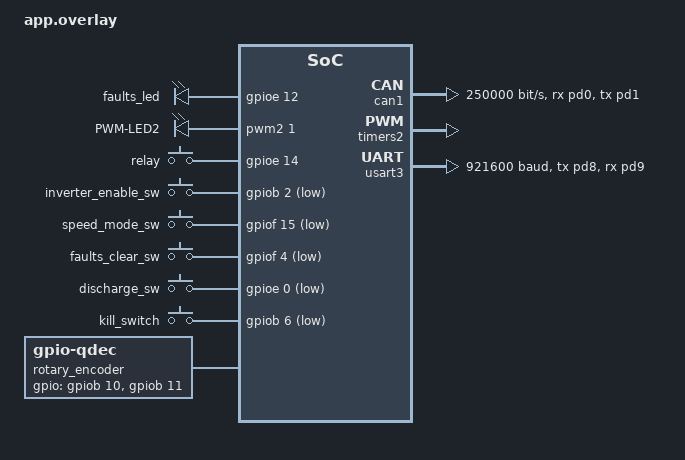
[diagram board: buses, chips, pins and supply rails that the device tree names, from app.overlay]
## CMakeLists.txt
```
cmake_minimum_required(VERSION 3.20.0)

set(BOARD nucleo_f767zi)

set(CONF_FILE prj.conf)
find_package(Zephyr)
project(nova_app)

target_include_directories(app PUBLIC "include/")

target_sources(
  app
  PRIVATE src/main.cpp src/inverter_broadcast_parse.cpp src/can_utility.cpp
          src/inverter_command.cpp src/can_controller.cpp
          src/peripheral_controller.cpp)
```

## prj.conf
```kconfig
#-----------------------------------------------------------------------------------------------------
CONFIG_CONSOLE=y
#CONFIG_STDOUT_CONSOLE=y
CONFIG_SERIAL=y
#CONFIG_UART_CONSOLE=y


CONFIG_I2C=y
CONFIG_PWM=y
CONFIG_CAN=y

CONFIG_CPP=y
CONFIG_NEWLIB_LIBC=y


#-----------------------------------------------------------------------------------------------------

CONFIG_EVENTS=y
CONFIG_CMSIS_DSP=y
CONFIG_CMSIS_DSP_TRANSFORM=y
CONFIG_CMSIS_DSP_FILTERING=y
CONFIG_FPU=y


CONFIG_USB_DEVICE_STACK=n

#-----------------------------------------------------------------------------------------------------

CONFIG_PRINTK=n


#-----------------------------------------------------------------------------------------------------
# Logging
CONFIG_LOG=y

CONFIG_LOG_MODE_DEFERRED=y
CONFIG_LOG_PROCESS_THREAD=y
CONFIG_LOG_PROCESS_THREAD_STACK_SIZE=2048
CONFIG_LOG_BUFFER_SIZE=16384

CONFIG_LOG_BACKEND_UART=y
CONFIG_LOG_BACKEND_UART_OUTPUT_TEXT=y
#-----------------------------------------------------------------------------------------------------
# activate pwm

#-----------------------------------------------------------------------------------------------------
# rotary encoder
CONFIG_INPUT=y
CONFIG_INPUT_GPIO_QDEC=y

#-----------------------------------------------------------------------------------------------------
#
CONFIG_MAIN_STACK_SIZE=2048
```

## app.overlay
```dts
#include <zephyr/dt-bindings/pwm/pwm.h>

&can1 {
  status = "okay";
  pinctrl-0 = <&can1_rx_pd0 &can1_tx_pd1>;
  bus-speed = <250000>; // default baud rate of the inverter
  pinctrl-names = "default";
};

&timers2 {
  st,prescaler = <1000>;
  status = "okay";
  pwm2: pwm {
    status = "okay";
    pinctrl-0 = <&tim2_ch1_pa0>; // D32 -- PA0
    pinctrl-names = "default";
  };
};

/ {
  chosen {
    zephyr,console = &usart3;
  };

  aliases {
    precharge-relay = &precharge_relay;
    
    faults-led = &faults_led;
    
    main-relay = &relay;
    rotary-encoder = &rotary_encoder;

    inv-en-sw = &inverter_enable_sw;
    speed-mode-sw = &speed_mode_sw;
    faults-clear-sw = &faults_clear_sw;
    discharge-sw = &discharge_sw;
    kill-switch = &kill_switch;
  };

  leds {
    compatible = "gpio-leds";

    faults_led: faults_led {
      gpios = <&gpioe 12 GPIO_ACTIVE_HIGH>; // D39 -- PE12
    };
  };

  pwmleds {
    compatible = "pwm-leds";
    status = "okay";

    precharge_relay: precharge_relay {
      pwms = <&pwm2 1 PWM_MSEC(40) PWM_POLARITY_NORMAL>;
      label = "PWM-LED2";
    };
  };

  relay_input {
    compatible = "gpio-keys";
    relay: main_relay {
      gpios = <&gpioe 14 GPIO_ACTIVE_HIGH>; // D38 -- PE14
      zephyr,code = <INPUT_KEY_0>;
    };
  };

  buttons {
    compatible = "gpio-keys";

    inverter_enable_sw: inv_en_sw {
      gpios = <&gpiob 2 (GPIO_PULL_UP | GPIO_ACTIVE_LOW)>; // D27 -- PB2
      zephyr,code = <INPUT_KEY_1>;
    };
    speed_mode_sw: speed_mode_sw {
      gpios = <&gpiof 15 (GPIO_PULL_UP | GPIO_ACTIVE_LOW)>; // D2 -- PF15
      zephyr,code = <INPUT_KEY_2>;
    };
    faults_clear_sw: faults_clear_sw {
      gpios = <&gpiof 4 (GPIO_PULL_UP | GPIO_ACTIVE_LOW)>; // A8 -- PF4
      zephyr,code = <INPUT_KEY_3>;
    };

    discharge_sw: discharge_sw {
      gpios = <&gpioe 0 (GPIO_PULL_UP | GPIO_ACTIVE_LOW)>; // D34 -- PE0
      zephyr,code = <INPUT_KEY_2>;
    };

    kill_switch: kill_switch {
      gpios = <&gpiob 6 (GPIO_PULL_UP | GPIO_ACTIVE_LOW)>; // D26 -- PB6
      zephyr,code = <INPUT_KEY_2>;
    };
  };

  rotary_encoder: qdec {
    compatible = "gpio-qdec";

    status = "okay";
    
    gpios = <&gpiob 10 (GPIO_PULL_UP | GPIO_ACTIVE_HIGH)>, // D36 -- PB10
            <&gpiob 11 (GPIO_PULL_UP | GPIO_ACTIVE_HIGH)>; // D35 -- PB11
    steps-per-period = <4>;
    zephyr,axis = <INPUT_REL_WHEEL>;
    sample-time-us = <2000>;
    idle-timeout-ms = <200>;
  };
};

&usart3 {
	status = "okay";
  current-speed = <921600>;
	pinctrl-0 = <&usart3_tx_pd8 &usart3_rx_pd9>;
	pinctrl-names = "default";
};
```

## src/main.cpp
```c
#include "can_utility.hpp"
#include "peripheral_controller.hpp"
#include "zephyr/kernel.h"

#include <zephyr/drivers/uart.h>
#include <zephyr/usb/usb_device.h>
#include <zephyr/usb/usbd.h>

#include "can_controller.hpp"
#include "zephyr/logging/log.h"

const int32_t STACK_SIZE = 2048;

//-------------------------------------------------------------------------------------------------------------------------

LOG_MODULE_REGISTER(main_logger, LOG_LEVEL_INF);

/*
 * Debug definitions
 */

// #define RELAYS_DEBUG

//-------------------------------------------------------------------------------------------------------------------------

// thread responsible for receiving can messages
K_THREAD_DEFINE(can_msg_receive_thread_id, STACK_SIZE, CAN_Parse_Thread,
                nullptr, nullptr, nullptr, 2, 0, 0);

// thread responsible for pulse signals
K_THREAD_DEFINE(inverter_pulse_command_thread_id, STACK_SIZE, Pulse_Command,
                nullptr, nullptr, nullptr, 1, 0, 0);

// transitions the states
K_THREAD_DEFINE(state_transition_thread_id, STACK_SIZE, State_Transition,
                nullptr, nullptr, nullptr, 2, 0, 0);

int main() {
  int32_t ret1 = CAN_Initialize();  // initialize CAN controller
  int32_t ret2 = initPeripherals(); // initialize the peripherals

  if (ret1 == -1 || ret2 == -1) { // terminate all other threads
    LOG_ERR("Aborted all threads!");
    k_thread_abort(can_msg_receive_thread_id);
    k_thread_abort(inverter_pulse_command_thread_id);
    k_thread_abort(state_transition_thread_id);
  }

  k_thread_suspend(k_current_get());

#ifdef RELAYS_DEBUG
  while (true) {
    enablePrechargeRelay();
    k_sleep(K_MSEC(1500));

    disablePrechargeRelay();

    k_sleep(K_MSEC(1500));

    enableMainRelay();
    k_sleep(K_MSEC(1500));

    disableMainRelay();
    k_sleep(K_MSEC(1500));
  }
#endif

  return 0;
}
```

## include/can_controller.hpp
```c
#ifndef CAN_CONTROLLER_H
#define CAN_CONTROLLER_H

#include "inverter_broadcast_parse.hpp"

#include <cstdint>

// ---------------------------------------------------------

int32_t CAN_Initialize();

// ---------------------------------------------------------

enum class CANMessageTypes : uint32_t {
  INTERNAL_STATES = 0x0AA,
  FAULT_CODES = 0x0AB,
  MOTOR_POSITION_INFORMATION = 0x0A5,
  VOLTAGE_INFORMATION = 0x0A7,
  PARAMETER_MESSAGE = 0x0C2
};

void CAN_Parse_Thread(void *p1, void *p2, void *p3);

// ---------------------------------------------------------

void CAN_Send_Message(uint32_t address, const uint8_t message[]);

// ---------------------------------------------------------

extern POSSIBLE_FAULTS possible_faults_buff[64];
extern size_t faults_buffer_size;

#endif // CAN_CONTROLLER_H
```

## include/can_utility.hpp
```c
#ifndef CAN_UTILITY_H
#define CAN_UTILITY_H

#include "inverter_broadcast_parse.hpp"
#include "zephyr/kernel.h"

// ---------------------------------------------------------

struct StateMessage {
  uint8_t data[8];
  Internal_States new_state;
};

extern k_msgq state_transition_messages;

void State_Transition();

// ---------------------------------------------------------

const int16_t MAX_TORQUE = 120; // it is in Nm(x10)
const int16_t MAX_SPEED = 300;  // it is in rpms

struct PulseMessage {
  int16_t torque;
  int16_t speed;
  bool direction;
  bool inverter_enable;
  bool inverter_discharge;
  bool speed_mode_enable;
  int16_t torque_limit;
};

// ---------------------------------------------------------

extern PulseMessage pulse_message;

void Pulse_Command();

// ---------------------------------------------------------

void Clear_Faults();

// ---------------------------------------------------------

#endif
```

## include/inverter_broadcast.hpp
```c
#ifndef __INV_BROADCAST__
#define __INV_BROADCAST__

#include <stdbool.h>
#include <stddef.h>
#include <stdint.h>

/* Includes ------------------------------------------------------------------*/

/*
 * 0x0A5
 */
struct Motor_Position_Information {
  /*
   * The electrical angle of the motor as read
   * by the encoder or resolver.
   *
   * Format: Angle.
   */
  int16_t motor_angle;

  /*
   * The measured speed of the motor.
   *
   * Format: Angular Velocity.
   */
  int16_t motor_speed;

  /*
   * The actual electrical frequency of the ivnerter.
   *
   * Format: Frequency
   */
  int16_t electrical_output_freq;

  /*
   * This is used in calibration of resolver angle adjustment.
   * The range of this parameter is +-180 degrees. Values between
   * 180degrees and 360degrees are shown as negative angle.
   * For example 270 degrees is equal to -90 degrees, and
   * 190 degrees is equal to -170 degrees.
   */
  int16_t delta_resolver_filtered;
};

/*
 * 0x0A7
 */
struct Voltage_Information {
  /*
   * The actual measured value of the DC bus voltage.
   *
   * Format: High Voltage
   */
  int16_t dc_bus_voltage;

  /*
   * The calculated value of the output voltage, in peak line-neutral volts.
   *
   * Format: High Voltage
   */
  int16_t output_voltage;

  /*
   * Measured value of the voltage between Phase A and Phase B(VAB) when the
   * inverter is disabled. Vd voltage when the inverter is enabled.
   *
   * Format: High Voltage
   */
  int16_t vab_vd_voltage;

  /*
   * Measured value of the voltage between Phase B and Phase C(VBC) when the
   * inverter is disabled. Vq voltage when the inverted is enabled.
   *
   * Format: High Voltage
   */
  int16_t vbc_vq_voltage;
};

enum class VSM_STATE : uint8_t {
  VSM_START_STATE = 0,
  VSM_PRE_CHARGE_INIT_STATE = 1,
  VSM_PRE_CHARGE_ACTIVE_STATE = 2,
  VSM_PRE_CHARGE_COMPLETE_STATE = 3,
  VSM_WAIT_STATE = 4,
  VSM_READY_STATE = 5,
  VSM_MOTOR_RUNNING_STATE = 6,
  VSM_BLINK_FAULT_CODE_STATE = 7,
  VSM_SHUTDOWN_IN_PROCESS = 14,
  VSM_RECYCLE_POWER_STATE = 15,
  VSM_UNKNOWN_STATE,
};

enum class INV_STATE : uint8_t {
  INV_POWER_ON_STATE,
  INV_STOP_STATE,
  INV_OPEN_LOOP_STATE,
  INV_CLOSED_LOOP_STATE,
  INV_WAIT_STATE,
  INV_INTERNAL_STATES,
  INV_IDLE_RUN_STATE,
  INV_IDLE_STOP_STATE,
  INV_UNKNOWN_STATE,
};

enum class INV_ACTIVE_DISCHARGE_STATE : uint8_t {
  DISCHARGE_DISABLED,
  DISCHARGE_ENABLED,
  PERFORMING_SPEED_CHECK,
  DISCHARGE_ACTIVELY_OCCURING,
  DISCHARGE_COMPLETED,
};

enum class INVERTER_RUN_MODE : uint8_t { TORQUE_MODE, SPEED_MODE };

/*
 * 0x0AA
 */
struct Internal_States {
  VSM_STATE vsm_state;

  /*
   * FOR GEN5/CM THE PWM FREQUENCY THAT IS CURRENTLY BEING USED IS REPORTED.
   * For PMxxx inverters this value show as 0.
   *
   * Format
   */
  uint8_t pwm_frequency;

  INV_STATE inverter_state;

  uint8_t relay_state;

  /*
   * 0 = Torque Mode
   * 1 = Speed Mode
   */
  bool run_mode;

  bool self_sensing_assist_enable;

  INV_ACTIVE_DISCHARGE_STATE discharge_state;

  /*
   * 0 = CAN
   * 1 = VSM
   */
  bool command_mode;

  /*
   * ONLY AVAILABLE IN GEN5/CM
   * The value of the currently expected Rolling Counter value.
   */
  uint8_t rolling_counter_value;

  /*
   * 0 - Disabled
   * 1 - Enabled
   */
  bool inverter_enable_state;

  /*
   * For GEN5 / CM
   * 0 = Stall
   * 1 = High Speed
   */
  bool burst_model_mode;

  /*
   * 0 = start signal has not been activated.
   * 1 = start signal has been activated.
   */
  bool start_mode_active;

  /*
   * 0 = inverter can be enabled.
   * 1 = inverter cannot be enabled.
   */
  bool inverter_enable_lockout;

  /*
   * 1 = Forward
   * 0 = Reverse
   */
  bool direction_command;

  /*
   * 0 = BMS message is not being received.
   * 1 = BMS message is being received.
   */
  bool bms_active;

  /*
   * 0 = Torque is not being limited by the BMS.
   * 1 = Torque is being limited by the BMS.
   */
  bool bms_limiting_torque;

  /*
   * ONLY AVAILABLE IN GEN5
   * 0 = No torque limiting is occurring.
   * 1 = Torque limiting is occuring due to the motor speed exceeding the
   * maximum motor speed.
   */
  bool limit_max_speed;

  /*
   * ONLY AVAILABLE IN GEN5
   */
  bool limit_hot_spot;

  /*
   * ONLY AVAILABLE IN GEN5
   * 0 = Low speed current limiting is not occuring.
   * 1 = Low speed current limiting is occuring.
   */
  bool low_speed_limiting;

  /*
   * ONLY AVAILABLE IN GEN5
   * The bit indicates that the maximum motor current is being limited due to
   * coolant temperature.
   */
  bool coolant_temperature_limiting;

  /*
   * ONLY AVAILABLE IN GEN5
   * 0 = Not limiting.
   * 1 = Limiting.
   * Indicates if Stall Burst Model is limiting the current. For select
   * inverters only.
   */
  bool limit_stall_burst_model;
};

enum class POSSIBLE_FAULTS : uint64_t {
  // POST FAULTS
  ERR_POST_HARDWARE_GATE_DESATURATION = 1ULL << 0,
  ERR_HW_OVER_CURRENT = 1ULL << 1,
  ERR_ACCELERATION_SHORTED = 1ULL << 2,
  ERR_ACCELERATION_OPEN = 1ULL << 3,
  ERR_CURRENT_SENSOR_LOW = 1ULL << 4,
  ERR_CURRENT_SENSOR_HIGH = 1ULL << 5,
  ERR_MODULE_TEMPERATURE_LOW = 1ULL << 6,
  ERR_MODULE_TEMPERATURE_HIGH = 1ULL << 7,
  ERR_CONTROL_PCB_TEMPERATURE_LOW = 1ULL << 8,
  ERR_CONTROL_PCB_TEMPERATURE_HIGH = 1ULL << 9,
  ERR_GATE_DRIVE_PCB_TEMPERATURE_LOW = 1ULL << 10,
  ERR_GATE_DRIVE_PCB_TEMPERATURE_HIGH = 1ULL << 11,
  ERR_5V_SENSE_VOLTAGE_LOW = 1ULL << 12,
  ERR_5V_SENSE_VOLTAGE_HIGH = 1ULL << 13,
  ERR_12V_SENSE_VOLTAGE_LOW = 1ULL << 14,
  ERR_12V_SENSE_VOLTAGE_HIGH = 1ULL << 15,
  ERR_2V5_SENSE_VOLTAGE_LOW = 1ULL << 16,
  ERR_2V5_SENSE_VOLTAGE_HIGH = 1ULL << 17,
  ERR_1V5_SENSE_VOLTAGE_LOW = 1ULL << 18,
  ERR_1V5_SENSE_VOLTAGE_HIGH = 1ULL << 19,
  ERR_DC_BUS_VOLTAGE_HIGH = 1ULL << 20,
  ERR_DC_BUS_VOLTAGE_LOW = 1ULL << 21,
  ERR_PRE_CHARGE_TIMEOUT = 1ULL << 22,
  ERR_PRE_CHARGE_VOLTAGE_FAILURE = 1ULL << 23,
  ERR_EEPROM_CHECKSUM_FAULED = 1ULL << 24,
  ERR_EEPROM_DATA_OUT_OF_RANGE = 1ULL << 25,
  ERR_EEPROM_UPDATE_REQUIRED = 1ULL << 26,
  ERR_HARDWARE_DC_BUS_OVER_VOLTAGE_DURING_INITIALIZATION = 1ULL << 27,
  ERR_BRAKE_SHORTED = 1ULL << 30,
  ERR_BRAKE_OPEN = 1ULL << 31,

  // RUN FAULTS
  ERR_MOTOR_OVER_SPEED = 1ULL << 32,
  ERR_OVER_CURRENT = 1ULL << 33,
  ERR_OVER_VOLTAGE = 1ULL << 34,
  ERR_INVERTER_OVER_TEMPERATURE = 1ULL << 35,
  ERR_ACCELERATOR_INPUT_SHORTED_FAULT = 1ULL << 36,
  ERR_ACCELERATOR_INPUT_OPEN_FAULT = 1ULL << 37,
  ERR_DIRECTION_COMMAND_FAULT = 1ULL << 38,
  ERR_INVERTER_RESPONSE_TIME_OUT = 1ULL << 39,
  ERR_RUN_HARDWARE_GATE_DESATURATION = 1ULL << 40,
  ERR_HARDWARE_OVER_CURRENT = 1ULL << 41,
  ERR_UNDER_VOLTAGE = 1ULL << 42,
  ERR_CAN_COMMAND_MESSAGE_LOST = 1ULL << 43,
  ERR_MOTOR_OVER_TEMPERATURE = 1ULL << 44,
  ERR_BRAKE_INPUT_SHORTED = 1ULL << 48,
  ERR_BRAKE_INPUT_OPEN = 1ULL << 49,
  ERR_MODULE_A_OVER_TEMPERATURE = 1ULL << 50,
  ERR_MODULE_B_OVER_TEMPERATURE = 1ULL << 51,
  ERR_MODULE_C_OVER_TEMPERATURE = 1ULL << 52,
  ERR_PCB_OVER_TEMPERATURE = 1ULL << 53,
  ERR_GATE_DRIVE_BOARD_1_OVER_TEMPERATURE = 1ULL << 54,
  ERR_GATE_DRIVE_BOARD_2_OVER_TEMPERATURE = 1ULL << 55,
  ERR_GATE_DRIVE_BOARD_3_OVER_TEMPERATURE = 1ULL << 56,
  ERR_CURRENT_SENSOR = 1ULL << 57,
  ERR_RESOLVER_NOT_CONNECTED = 1ULL << 62,
};

/*
 * 0x0AB
 *
 * Bits correspond to POST_FAULTS and RUN_FAULTS
 */
struct Fault_Codes {
  uint64_t mask;
};

/*
 * 0x0AC
 */
struct Torque_And_Timer_Info {
  /*
   * The commanded torque.
   *
   * Format: Torque
   */
  int8_t commanded_torque;

  /*
   * The estimated motor torque based on
   * motor parameters and feedbacks.
   *
   * Format: Torque
   */
  int8_t torque_feedback;

  /*
   * This timer is updated every 3 msec. This
   * timer will roll-over in approximately 5
   * months. The timer will reset to 0 at power
   * on. Monitoring this can be useful to show
   * when a reset of the processor has occurred.
   *
   * Format: (Counts x .003) sec
   */
  int8_t power_on_timer;
};

/*
 * 0x0B0
 */
struct High_Speed_Message {
  /*
   * The commanded torque.
   *
   * Format: Torque
   */
  int8_t commanded_torque;

  /*
   * The estimated motor torque.
   *
   * Format: Torque
   */
  int8_t torque_feedback;

  /*
   * The measured motor speed.
   *
   * Format: Angular Velocity
   */
  int8_t motor_speed;

  /*
   * The actual measured DC bus voltage;
   *
   * Format: High Voltage
   */
  int8_t dc_bus_voltage;
};

/*
 * 0x0B1
 */
struct Torque_Capability {
  /*
   * The inverter's available torque.
   *
   * Format: Torque
   */
  int8_t torque_capability;
};

Internal_States Parse_Internal_States(uint8_t *);

void Parse_Fault_Codes(uint8_t *);

size_t Check_Fault_Codes();

void Parse_Motor_Position_Information(uint8_t *);

void Parse_Voltage_Information(uint8_t *);

extern Motor_Position_Information motor_position_information;
extern Voltage_Information voltage_information;
extern Internal_States internal_states;
extern Fault_Codes fault_codes;

#endif /* __INV_BROADCAST__ */
```

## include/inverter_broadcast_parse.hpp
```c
#ifndef INVERTER_BROADCAST_PARSE_H
#define INVERTER_BROADCAST_PARSE_H

#include <stdbool.h>
#include <stddef.h>
#include <stdint.h>

/* Includes ------------------------------------------------------------------*/

/*
 * 0x0A5
 */
struct Motor_Position_Information {
  /*
   * The electrical angle of the motor as read
   * by the encoder or resolver.
   *
   * Format: Angle.
   */
  int16_t motor_angle;

  /*
   * The measured speed of the motor.
   *
   * Format: Angular Velocity.
   */
  int16_t motor_speed;

  /*
   * The actual electrical frequency of the ivnerter.
   *
   * Format: Frequency
   */
  int16_t electrical_output_freq;

  /*
   * This is used in calibration of resolver angle adjustment.
   * The range of this parameter is +-180 degrees. Values between
   * 180degrees and 360degrees are shown as negative angle.
   * For example 270 degrees is equal to -90 degrees, and
   * 190 degrees is equal to -170 degrees.
   */
  int16_t delta_resolver_filtered;
};

/*
 * 0x0A7
 */
struct Voltage_Information {
  /*
   * The actual measured value of the DC bus voltage.
   *
   * Format: High Voltage
   */
  int16_t dc_bus_voltage;

  /*
   * The calculated value of the output voltage, in peak line-neutral volts.
   *
   * Format: High Voltage
   */
  int16_t output_voltage;

  /*
   * Measured value of the voltage between Phase A and Phase B(VAB) when the
   * inverter is disabled. Vd voltage when the inverter is enabled.
   *
   * Format: High Voltage
   */
  int16_t vab_vd_voltage;

  /*
   * Measured value of the voltage between Phase B and Phase C(VBC) when the
   * inverter is disabled. Vq voltage when the inverted is enabled.
   *
   * Format: High Voltage
   */
  int16_t vbc_vq_voltage;
};

#define VSM_STATE_LIST(x)                                                      \
  X(VSM_START_STATE, 0)                                                        \
  X(VSM_PRE_CHARGE_INIT_STATE, 1)                                              \
  X(VSM_PRE_CHARGE_ACTIVE_STATE, 2)                                            \
  X(VSM_PRE_CHARGE_COMPLETE_STATE, 3)                                          \
  X(VSM_WAIT_STATE, 4)                                                         \
  X(VSM_READY_STATE, 5)                                                        \
  X(VSM_MOTOR_RUNNING_STATE, 6)                                                \
  X(VSM_BLINK_FAULT_CODE_STATE, 7)                                             \
  X(VSM_SHUTDOWN_IN_PROCESS, 14)                                               \
  X(VSM_RECYCLE_POWER_STATE, 15)                                               \
  X(VSM_UNKNOWN_STATE, 16)

enum class VSM_STATE : uint8_t {
#define X(name, value) name = value,
  VSM_STATE_LIST(X)
#undef X
};

struct VSM_STATE_INFO {
  uint8_t val;
  const char *str;
};

constexpr VSM_STATE_INFO vsm_state_info_table[] = {
#define X(name, value) {value, #name},
    VSM_STATE_LIST(X)
#undef X
};

enum class INV_STATE : uint8_t {
  INV_POWER_ON_STATE,
  INV_STOP_STATE,
  INV_OPEN_LOOP_STATE,
  INV_CLOSED_LOOP_STATE,
  INV_WAIT_STATE,
  INV_INTERNAL_STATES,
  INV_IDLE_RUN_STATE,
  INV_IDLE_STOP_STATE,
  INV_UNKNOWN_STATE,
};

enum class INV_ACTIVE_DISCHARGE_STATE : uint8_t {
  DISCHARGE_DISABLED,
  DISCHARGE_ENABLED,
  PERFORMING_SPEED_CHECK,
  DISCHARGE_ACTIVELY_OCCURING,
  DISCHARGE_COMPLETED,
};

enum class INVERTER_RUN_MODE : uint8_t { TORQUE_MODE, SPEED_MODE };

/*
 * 0x0AA
 */
struct Internal_States {
  VSM_STATE vsm_state;

  /*
   * FOR GEN5/CM THE PWM FREQUENCY THAT IS CURRENTLY BEING USED IS REPORTED.
   * For PMxxx inverters this value show as 0.
   *
   * Format
   */
  uint8_t pwm_frequency;

  INV_STATE inverter_state;

  uint8_t relay_state;

  /*
   * 0 = Torque Mode
   * 1 = Speed Mode
   */
  bool run_mode;

  bool self_sensing_assist_enable;

  INV_ACTIVE_DISCHARGE_STATE discharge_state;

  /*
   * 0 = CAN
   * 1 = VSM
   */
  bool command_mode;

  /*
   * ONLY AVAILABLE IN GEN5/CM
   * The value of the currently expected Rolling Counter value.
   */
  uint8_t rolling_counter_value;

  /*
   * 0 - Disabled
   * 1 - Enabled
   */
  bool inverter_enable_state;

  /*
   * For GEN5 / CM
   * 0 = Stall
   * 1 = High Speed
   */
  bool burst_model_mode;

  /*
   * 0 = start signal has not been activated.
   * 1 = start signal has been activated.
   */
  bool start_mode_active;

  /*
   * 0 = inverter can be enabled.
   * 1 = inverter cannot be enabled.
   */
  bool inverter_enable_lockout;

  /*
   * 1 = Forward
   * 0 = Reverse
   */
  bool direction_command;

  /*
   * 0 = BMS message is not being received.
   * 1 = BMS message is being received.
   */
  bool bms_active;

  /*
   * 0 = Torque is not being limited by the BMS.
   * 1 = Torque is being limited by the BMS.
   */
  bool bms_limiting_torque;

  /*
   * ONLY AVAILABLE IN GEN5
   * 0 = No torque limiting is occurring.
   * 1 = Torque limiting is occuring due to the motor speed exceeding the
   * maximum motor speed.
   */
  bool limit_max_speed;

  /*
   * ONLY AVAILABLE IN GEN5
   */
  bool limit_hot_spot;

  /*
   * ONLY AVAILABLE IN GEN5
   * 0 = Low speed current limiting is not occuring.
   * 1 = Low speed current limiting is occuring.
   */
  bool low_speed_limiting;

  /*
   * ONLY AVAILABLE IN GEN5
   * The bit indicates that the maximum motor current is being limited due to
   * coolant temperature.
   */
  bool coolant_temperature_limiting;

  /*
   * ONLY AVAILABLE IN GEN5
   * 0 = Not limiting.
   * 1 = Limiting.
   * Indicates if Stall Burst Model is limiting the current. For select
   * inverters only.
   */
  bool limit_stall_burst_model;
};

// possible_faults.def
#define POSSIBLE_FAULTS_LIST(X)                                                \
  /* POST FAULTS */                                                            \
  X(ERR_POST_HARDWARE_GATE_DESATURATION, 0)                                    \
  X(ERR_HW_OVER_CURRENT, 1)                                                    \
  X(ERR_ACCELERATION_SHORTED, 2)                                               \
  X(ERR_ACCELERATION_OPEN, 3)                                                  \
  X(ERR_CURRENT_SENSOR_LOW, 4)                                                 \
  X(ERR_CURRENT_SENSOR_HIGH, 5)                                                \
  X(ERR_MODULE_TEMPERATURE_LOW, 6)                                             \
  X(ERR_MODULE_TEMPERATURE_HIGH, 7)                                            \
  X(ERR_CONTROL_PCB_TEMPERATURE_LOW, 8)                                        \
  X(ERR_CONTROL_PCB_TEMPERATURE_HIGH, 9)                                       \
  X(ERR_GATE_DRIVE_PCB_TEMPERATURE_LOW, 10)                                    \
  X(ERR_GATE_DRIVE_PCB_TEMPERATURE_HIGH, 11)                                   \
  X(ERR_5V_SENSE_VOLTAGE_LOW, 12)                                              \
  X(ERR_5V_SENSE_VOLTAGE_HIGH, 13)                                             \
  X(ERR_12V_SENSE_VOLTAGE_LOW, 14)                                             \
  X(ERR_12V_SENSE_VOLTAGE_HIGH, 15)                                            \
  X(ERR_2V5_SENSE_VOLTAGE_LOW, 16)                                             \
  X(ERR_2V5_SENSE_VOLTAGE_HIGH, 17)                                            \
  X(ERR_1V5_SENSE_VOLTAGE_LOW, 18)                                             \
  X(ERR_1V5_SENSE_VOLTAGE_HIGH, 19)                                            \
  X(ERR_DC_BUS_VOLTAGE_HIGH, 20)                                               \
  X(ERR_DC_BUS_VOLTAGE_LOW, 21)                                                \
  X(ERR_PRE_CHARGE_TIMEOUT, 22)                                                \
  X(ERR_PRE_CHARGE_VOLTAGE_FAILURE, 23)                                        \
  X(ERR_EEPROM_CHECKSUM_FAULED, 24)                                            \
  X(ERR_EEPROM_DATA_OUT_OF_RANGE, 25)                                          \
  X(ERR_EEPROM_UPDATE_REQUIRED, 26)                                            \
  X(ERR_HARDWARE_DC_BUS_OVER_VOLTAGE_DURING_INITIALIZATION, 27)                \
  X(ERR_BRAKE_SHORTED, 30)                                                     \
  X(ERR_BRAKE_OPEN, 31)                                                        \
                                                                               \
  /* RUN FAULTS */                                                             \
  X(ERR_MOTOR_OVER_SPEED, 32)                                                  \
  X(ERR_OVER_CURRENT, 33)                                                      \
  X(ERR_OVER_VOLTAGE, 34)                                                      \
  X(ERR_INVERTER_OVER_TEMPERATURE, 35)                                         \
  X(ERR_ACCELERATOR_INPUT_SHORTED_FAULT, 36)                                   \
  X(ERR_ACCELERATOR_INPUT_OPEN_FAULT, 37)                                      \
  X(ERR_DIRECTION_COMMAND_FAULT, 38)                                           \
  X(ERR_INVERTER_RESPONSE_TIME_OUT, 39)                                        \
  X(ERR_RUN_HARDWARE_GATE_DESATURATION, 40)                                    \
  X(ERR_HARDWARE_OVER_CURRENT, 41)                                             \
  X(ERR_UNDER_VOLTAGE, 42)                                                     \
  X(ERR_CAN_COMMAND_MESSAGE_LOST, 43)                                          \
  X(ERR_MOTOR_OVER_TEMPERATURE, 44)                                            \
  X(ERR_BRAKE_INPUT_SHORTED, 48)                                               \
  X(ERR_BRAKE_INPUT_OPEN, 49)                                                  \
  X(ERR_MODULE_A_OVER_TEMPERATURE, 50)                                         \
  X(ERR_MODULE_B_OVER_TEMPERATURE, 51)                                         \
  X(ERR_MODULE_C_OVER_TEMPERATURE, 52)                                         \
  X(ERR_PCB_OVER_TEMPERATURE, 53)                                              \
  X(ERR_GATE_DRIVE_BOARD_1_OVER_TEMPERATURE, 54)                               \
  X(ERR_GATE_DRIVE_BOARD_2_OVER_TEMPERATURE, 55)                               \
  X(ERR_GATE_DRIVE_BOARD_3_OVER_TEMPERATURE, 56)                               \
  X(ERR_CURRENT_SENSOR, 57)                                                    \
  X(ERR_RESOLVER_NOT_CONNECTED, 62)

enum class POSSIBLE_FAULTS : uint64_t {
#define X(name, bit) name = (1ULL << bit),
  POSSIBLE_FAULTS_LIST(X)
#undef X
};

struct FaultInfo {
  uint64_t mask;
  const char *name;
};

constexpr FaultInfo possible_faults_table[] = {
#define X(name, bit) {(1ULL << bit), #name},
    POSSIBLE_FAULTS_LIST(X)
#undef X
};

/*
 * 0x0AB
 *
 * Bits correspond to POST_FAULTS and RUN_FAULTS
 */
struct Fault_Codes {
  uint64_t mask;
};

/*
 * 0x0AC
 */
struct Torque_And_Timer_Info {
  /*
   * The commanded torque.
   *
   * Format: Torque
   */
  int8_t commanded_torque;

  /*
   * The estimated motor torque based on
   * motor parameters and feedbacks.
   *
   * Format: Torque
   */
  int8_t torque_feedback;

  /*
   * This timer is updated every 3 msec. This
   * timer will roll-over in approximately 5
   * months. The timer will reset to 0 at power
   * on. Monitoring this can be useful to show
   * when a reset of the processor has occurred.
   *
   * Format: (Counts x .003) sec
   */
  int8_t power_on_timer;
};

/*
 * 0x0B0
 */
struct High_Speed_Message {
  /*
   * The commanded torque.
   *
   * Format: Torque
   */
  int8_t commanded_torque;

  /*
   * The estimated motor torque.
   *
   * Format: Torque
   */
  int8_t torque_feedback;

  /*
   * The measured motor speed.
   *
   * Format: Angular Velocity
   */
  int8_t motor_speed;

  /*
   * The actual measured DC bus voltage;
   *
   * Format: High Voltage
   */
  int8_t dc_bus_voltage;
};

/*
 * 0x0B1
 */
struct Torque_Capability {
  /*
   * The inverter's available torque.
   *
   * Format: Torque
   */
  int8_t torque_capability;
};

Internal_States Parse_Internal_States(uint8_t *);

Fault_Codes Parse_Fault_Codes(uint8_t *);

size_t Check_Fault_Codes(Fault_Codes fault_codes);

Motor_Position_Information Parse_Motor_Position_Information(uint8_t *);

Voltage_Information Parse_Voltage_Information(uint8_t *);

#endif /* INVERTER_BROADCAST_PARSE_H */
```

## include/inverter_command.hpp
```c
#ifndef INVERTER_COMMAND_H
#define INVERTER_COMMAND_H

#include <stdbool.h>
#include <stdint.h>

// ---------------------------------------------------------

/*
 * Send a command message
 *
 * page 32 of CAN Protocol document
 */
void Send_Command(int16_t torque_command, int16_t speed_command,
                  bool direction_command, bool inverter_enable,
                  bool inverter_discharge, bool speed_mode_enable,
                  int16_t commanded_torque_limit);

// ---------------------------------------------------------

/*
 * Send a parameter message
 *
 * page 38 of CAN Protocol document
 */
void Send_Parameter(uint16_t parameter_address, bool rw, int16_t data);

// ---------------------------------------------------------

void Parse_Parameter_Message(uint8_t *arr, uint16_t *parameter_address,
                             bool *success, int16_t *data);

// ---------------------------------------------------------

#endif // INVERTER_COMMAND_H
```

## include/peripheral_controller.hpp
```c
#ifndef PERIPHERAL_CONTROLLER_H
#define PERIPHERAL_CONTROLLER_H

#include "zephyr/dt-bindings/pwm/pwm.h"
#include <cstdint>

// ---------------------------------------------------------

// initialize
int32_t initPeripherals();

// ---------------------------------------------------------

// pre-charge relays
const int64_t PWM_PERIOD = PWM_USEC(1000);
const int64_t PWM_DUTY_PERIOD = PWM_USEC(1000);
const int16_t TORQUE_SCALER = 10;

void enablePrechargeRelay();
void disablePrechargeRelay();

// ---------------------------------------------------------

// main relays
void enableMainRelay();
void disableMainRelay();

// ---------------------------------------------------------

// fault led
void enableFaultsLed();
void disableFaultsLed();

// ---------------------------------------------------------

#endif // !PERIPHERAL_CONTROLLER_H
```

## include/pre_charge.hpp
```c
#ifndef __PRE_CHARGE_H__
#define __PRE_CHARGE_H__

#include "inverter_broadcast.hpp"

extern VSM_STATE ecu_vsm_state;

void Walk_Through_Precharge(void);

#endif
```

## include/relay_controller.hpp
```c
#ifndef RELAY_CONTROLLER_H
#define RELAY_CONTROLLER_H

// initialize
void initRelays();

// pre-charge relays
void enablePrechargeRelay();
void disablePrechargeRelay();

// main relays
void enableMainRelay();
void disableMainRelay();

#endif // !RELAY_CONTROLLER_H
```

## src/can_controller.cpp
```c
#include "can_controller.hpp"
#include "can_utility.hpp"
#include "inverter_broadcast_parse.hpp"
#include "inverter_command.hpp"
#include "peripheral_controller.hpp"
#include "zephyr/device.h"
#include "zephyr/devicetree.h"
#include "zephyr/drivers/can.h"
#include "zephyr/kernel.h"
#include "zephyr/logging/log.h"

//----------------------------------------------------------------------
// DEBUG Defines

LOG_MODULE_REGISTER(can_message_parse, LOG_LEVEL_INF);

#define ERROR_DBG
#define STATUS_DBG
#define PARAMETER_RECEIVED_DBG
#define VOLTAGE_DBG

//----------------------------------------------------------------------

const device *can_dev = DEVICE_DT_GET(DT_NODELABEL(can1));

POSSIBLE_FAULTS possible_faults_buff[64];
size_t faults_buffer_size = 0;

struct can_rx_item {
  uint32_t msg_id;
  uint8_t data[8];
};

K_MSGQ_DEFINE(can_rx_q, sizeof(can_rx_item), 256, 4);

void CAN_Parse_Thread(void *p1, void *p2, void *p3) {
  can_rx_item item;
  while (true) {

    k_msgq_get(&can_rx_q, &item, K_FOREVER);

    switch (static_cast<CANMessageTypes>(item.msg_id)) {
    case CANMessageTypes::INTERNAL_STATES: {
      Internal_States parsed_internal_state = Parse_Internal_States(item.data);
      if (k_msgq_put(&state_transition_messages, &parsed_internal_state,
                     K_MSEC(30)) < 0) {
        LOG_ERR("Could not send a state transition message in time!");
      }

#ifdef STATUS_DBG

      for (const auto &x : vsm_state_info_table) {
        if (x.val == uint8_t(parsed_internal_state.vsm_state)) {
          LOG_INF("VSM State:%s -- Inverter Enable State:%d -- Relay States:%u",
                  x.str, parsed_internal_state.inverter_enable_state,
                  int32_t(parsed_internal_state.relay_state));
        }
      }

#endif

      break;
    }
    case CANMessageTypes::FAULT_CODES: {
      Fault_Codes fault_codes = Parse_Fault_Codes(item.data);

      size_t err_size = Check_Fault_Codes(fault_codes);

      if (err_size) {
        // enableFaultsLed();
#ifdef ERROR_DBG
        for (size_t i = 0; i < err_size; i++) {
          for (const auto &x : possible_faults_table) {
            if (x.mask == uint64_t(possible_faults_buff[i])) {
              LOG_INF("Error of type: %s - occured", x.name);
            }
          }
        }
#endif
      } else {
        disableFaultsLed();
      }

      break;
    }
    case CANMessageTypes::MOTOR_POSITION_INFORMATION: {
      Motor_Position_Information motor_position_information =
          Parse_Motor_Position_Information(item.data);
      break;
    }
    case CANMessageTypes::VOLTAGE_INFORMATION: {

      Voltage_Information voltage_information =
          Parse_Voltage_Information(item.data);

#ifdef VOLTAGE_DBG
      LOG_INF("Voltage Information: DC BUS Voltage: %d, Output Voltage: %d",
              voltage_information.dc_bus_voltage,
              voltage_information.output_voltage);
#endif

      break;
    }
    case CANMessageTypes::PARAMETER_MESSAGE: {
      uint16_t parameter_address = 0;
      int16_t data = 0;
      bool success = false;
      Parse_Parameter_Message(item.data, &parameter_address, &success, &data);
#ifdef PARAMETER_RECEIVED_DBG
      LOG_INF("Response from parameter message: %u %d %d", parameter_address,
              success, data);
#endif

      break;
    }
    default:
      break;
    }
  }
}

/*
 * Receive CAN messages from the inverter and enqueue them in the parser's
 * queue.
 */
void rx_callback_function(const struct device *dev, struct can_frame *frame,
                          void *user_data) {
  can_rx_item item = can_rx_item{
      .msg_id = frame->id,
      .data = {frame->data[0], frame->data[1], frame->data[2], frame->data[3],
               frame->data[4], frame->data[5], frame->data[6], frame->data[7]}};

  if (k_msgq_put(&can_rx_q, &item, K_NO_WAIT) < 0) {
    LOG_ERR("Could not send received CAN message to the parse queue!");
  }
}

int32_t CAN_Initialize() {

  if (!device_is_ready(can_dev)) {
    printk("CAN device is not ready!\n");
    LOG_ERR("CAN device is not ready!");
    return -1;
  }

  if (can_set_mode(can_dev, CAN_MODE_NORMAL) != 0) {
    LOG_ERR("Error setting CAN mode!");
    return -1;
  }

  if (can_start(can_dev) != 0) {
    LOG_ERR("Couldn't start CAN device");
    return -1;
  }

  const can_filter my_filter = {.id = 0, .mask = 0, .flags = CAN_FILTER_IDE};

  if (can_add_rx_filter(can_dev, rx_callback_function, nullptr, &my_filter) <
      0) {
    LOG_ERR("Could not add a callback function");
  }

  return 0;
}

void CAN_Send_Message(uint32_t address, const uint8_t message[]) {
  struct can_frame frame = {
      .id = address,
      .dlc = 8,
      .flags = CAN_FRAME_IDE,
      .data = {message[0], message[1], message[2], message[3], message[4],
               message[5], message[6], message[7]},
  };
  int32_t ret = can_send(can_dev, &frame, K_MSEC(20), NULL, NULL);
  if (ret < 0) {
    LOG_ERR("Could not send CAN message!");
  }
}
```

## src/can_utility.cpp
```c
#include "can_utility.hpp"
#include "inverter_broadcast_parse.hpp"
#include "inverter_command.hpp"
#include "zephyr/kernel.h"
#include "zephyr/logging/log.h"

// Logging
LOG_MODULE_REGISTER(can_utility, LOG_LEVEL_INF);

// Message queue for the state transitions
K_MSGQ_DEFINE(state_transition_messages, sizeof(StateMessage), 64, 4);

void State_Transition() {

  Internal_States next_state;
  while (true) {
    // get the state of the VSM
    k_msgq_get(&state_transition_messages, &next_state, K_FOREVER);

    /*
     * SW USER MANUAL, Page 28
     *
     * NOTE: It is possible to send a command to the inverter to enable the
     * relay contactors using CAN messages. That way we can get 12V power
     * driver, instead of relying on MOSFET drivers
     */
    switch (next_state.vsm_state) {
    case VSM_STATE::VSM_START_STATE:

      break;
    case VSM_STATE::VSM_PRE_CHARGE_INIT_STATE:
      /*
       * Performs VDC checks and if the voltage is under the threshold,
       * transition to VSM_PRE_CHARGE_ACTIVE_STATE
       */

      break;
    case VSM_STATE::VSM_PRE_CHARGE_ACTIVE_STATE:

      break;
    case VSM_STATE::VSM_PRE_CHARGE_COMPLETE_STATE:
      /*
       * also preforms stability check on the voltage. Once
       * checks are completed transition to VSM_WAIT_STATE
       */

      break;
    case VSM_STATE::VSM_WAIT_STATE:
      /*
       * NOTE: Inv_Cmd_Mode_EEPROM should be set to 0 for CAN mode
       * communication. This ensures that the inverter is not relying on BRAKE,
       * FORWARD and REVERSE SWITCHES.
       *
       * NOTE: Furthermore, Key_Switch_Mode is ineffective in CAN mode, so this
       * whole state should quickly transition to VSM_READY_STATE
       */

      break;
    case VSM_STATE::VSM_READY_STATE:
      /*
       * The system is waiting for Enable Inverter Command,
       */

      break;
    case VSM_STATE::VSM_MOTOR_RUNNING_STATE:

      break;
    case VSM_STATE::VSM_BLINK_FAULT_CODE_STATE:

      break;
    case VSM_STATE::VSM_SHUTDOWN_IN_PROCESS:

      break;
    case VSM_STATE::VSM_RECYCLE_POWER_STATE:
      /*
       * This state indicates that the EEPROM Programming
       * has been successfully completed. For new EEPROM
       * values to take effect, the controller must be re-powered.
       */

      break;
    default:
      break;
    }
  }
}

K_SEM_DEFINE(pulse_sem, 0, 1);

void pulse_timer_expiratory_func(k_timer *timer_id) { k_sem_give(&pulse_sem); }

K_TIMER_DEFINE(pulse_timer, pulse_timer_expiratory_func, NULL);

PulseMessage pulse_message;

void Pulse_Command() {
  // initialize values
  {
    pulse_message.torque = 0;
    pulse_message.speed = 0;
    pulse_message.direction = 1; // forward
    pulse_message.inverter_enable = 0;
    pulse_message.inverter_discharge = 0;
    pulse_message.speed_mode_enable = 0;
    pulse_message.torque_limit = MAX_TORQUE;
  }

  // start the timer
  k_timer_start(&pulse_timer, K_NO_WAIT, K_MSEC(50));

  while (true) {
    k_sem_take(&pulse_sem, K_FOREVER);
    LOG_INF("Command Message Values: Torque:%d Speed:%d Inv_Enable:%d "
            "Inv_Discharge:%d\n",
            pulse_message.torque, pulse_message.speed,
            pulse_message.inverter_enable, pulse_message.inverter_discharge);

    Send_Command(pulse_message.torque, pulse_message.speed,
                 pulse_message.direction, pulse_message.inverter_enable,
                 pulse_message.inverter_discharge,
                 pulse_message.speed_mode_enable, pulse_message.torque_limit);
  }
}

void Clear_Faults() { Send_Parameter(20, 1, 0x0); }
```

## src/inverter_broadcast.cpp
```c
#include "inverter_broadcast.hpp"
#include "can_controller.hpp"
#include <stdbool.h>
#include <stddef.h>

Motor_Position_Information motor_position_information;
Voltage_Information voltage_information;
Internal_States internal_states;
Fault_Codes fault_codes;

Internal_States Parse_Internal_States(uint8_t *arr) {
  VSM_STATE vsm_state = static_cast<VSM_STATE>(arr[0]);

  uint8_t pwm_frequency = arr[1];

  INV_STATE inv_state = static_cast<INV_STATE>(arr[2]);

  switch (arr[2]) {
  case 0:
    inv_state = INV_STATE::INV_POWER_ON_STATE;
    break;
  case 1:
    inv_state = INV_STATE::INV_STOP_STATE;
    break;
  case 2:
    inv_state = INV_STATE::INV_OPEN_LOOP_STATE;
    break;
  case 3:
    inv_state = INV_STATE::INV_CLOSED_LOOP_STATE;
    break;
  case 4:
    inv_state = INV_STATE::INV_WAIT_STATE;
    break;
  case 5:
  case 6:
  case 7:
    inv_state = INV_STATE::INV_INTERNAL_STATES;
    break;
  case 8:
    inv_state = INV_STATE::INV_IDLE_RUN_STATE;
    break;
  case 9:
    inv_state = INV_STATE::INV_IDLE_STOP_STATE;
    break;
  case 10:
  case 11:
  case 12:
    inv_state = INV_STATE::INV_INTERNAL_STATES;
    break;
  default:
    inv_state = INV_STATE::INV_UNKNOWN_STATE;
    break;
  }

  uint8_t relay_state = arr[3];

  bool inverter_run_mode = arr[4] & (1 << 0);

  bool self_sensing_assist_enable = arr[4] & (1 << 1);

  INV_ACTIVE_DISCHARGE_STATE active_discharge_state =
      static_cast<INV_ACTIVE_DISCHARGE_STATE>(arr[4] >> 5);

  bool command_mode = arr[5] & (1 << 0);

  uint8_t rolling_counter_value = (arr[5] >> 4);

  bool inverter_enable_state = (arr[6] & (1 << 0));

  bool burst_model_mode = (arr[6] & (1 << 1));

  bool start_mode_active = (arr[6] & (1 << 6));

  bool inverter_enable_lockout = (arr[6] & (1 << 7));

  bool direction_command = (arr[7] & (1 << 0));

  bool bms_active = (arr[7] & (1 << 1));

  bool bms_limiting_torque = (arr[7] & (1 << 2));

  bool limit_max_speed = (arr[7] & (1 << 3));

  bool limit_hot_spot = (arr[7] & (1 << 4));

  bool low_speed_limit = (arr[7] & (1 << 5));

  bool coolant_temp_limiting = (arr[7] & (1 << 6));

  bool limit_stall_burst_model = (arr[7] & (1 << 7));

  internal_states = Internal_States{
      .vsm_state = vsm_state,
      .pwm_frequency = pwm_frequency,
      .inverter_state = inv_state,
      .relay_state = relay_state,
      .run_mode = inverter_run_mode,
      .self_sensing_assist_enable = self_sensing_assist_enable,
      .discharge_state = active_discharge_state,
      .command_mode = command_mode,
      .rolling_counter_value = rolling_counter_value,
      .inverter_enable_state = inverter_enable_state,
      .burst_model_mode = burst_model_mode,
      .start_mode_active = start_mode_active,
      .inverter_enable_lockout = inverter_enable_lockout,
      .direction_command = direction_command,
      .bms_active = bms_active,
      .bms_limiting_torque = bms_limiting_torque,
      .limit_max_speed = limit_max_speed,
      .limit_hot_spot = limit_hot_spot,
      .low_speed_limiting = low_speed_limit,
      .coolant_temperature_limiting = coolant_temp_limiting,
      .limit_stall_burst_model = limit_stall_burst_model,
  };
  return internal_states;
}

void Parse_Fault_Codes(uint8_t *arr) {
  uint64_t fault_codes_as_uint64[8] = {0, 0, 0, 0, 0, 0, 0, 0};

  // need to cast it into uint64_t in order to
  // make the bit shifts with width >= 8
  for (int i = 0; i < 8; i++) {
    fault_codes_as_uint64[i] = arr[i];
  }

  uint64_t final_mask =
      (fault_codes_as_uint64[0] | (fault_codes_as_uint64[1] << 8) |
       (fault_codes_as_uint64[2] << 16) | (fault_codes_as_uint64[3] << 24) |
       (fault_codes_as_uint64[4] << 32) | (fault_codes_as_uint64[5] << 40) |
       (fault_codes_as_uint64[6] << 48) | (fault_codes_as_uint64[7] << 56));

  fault_codes = Fault_Codes{.mask = final_mask};
}

size_t Check_Fault_Codes() {
  faults_buffer_size = 0;
  Fault_Codes fault_codes_snapshot = fault_codes;
  for (int i = 0; i < 64; i++) {
    if (fault_codes_snapshot.mask & (((uint64_t)1) << i)) {
      possible_faults_buff[faults_buffer_size++] =
          static_cast<POSSIBLE_FAULTS>(uint64_t{1} << i);
    }
  }
  return faults_buffer_size;
}

void Parse_Motor_Position_Information(uint8_t *arr) {
  int16_t motor_angle = ((int16_t)arr[0]) | (((int16_t)arr[1]) << 8);
  int16_t motor_speed = ((int16_t)arr[2]) | (((int16_t)arr[3]) << 8);
  int16_t electrical_output_freq = ((int16_t)arr[4]) | (((int16_t)arr[5]) << 8);
  int16_t delta_resolver_filtered =
      ((int16_t)arr[6]) | (((int16_t)arr[7]) << 8);

  motor_position_information = (Motor_Position_Information){
      .motor_angle = motor_angle,
      .motor_speed = motor_speed,
      .electrical_output_freq = electrical_output_freq,
      .delta_resolver_filtered = delta_resolver_filtered,
  };
}

void Parse_Voltage_Information(uint8_t *arr) {
  int16_t dc_buc_voltage = ((int16_t)arr[0]) | (((int16_t)arr[1]) << 8);
  int16_t output_voltage = ((int16_t)arr[2]) | (((int16_t)arr[3]) << 8);
  int16_t vab_vd_voltage = ((int16_t)arr[4]) | (((int16_t)arr[5]) << 8);
  int16_t vbc_vq_voltage = ((int16_t)arr[6]) | (((int16_t)arr[7]) << 8);

  voltage_information = Voltage_Information{
      .dc_bus_voltage = dc_buc_voltage,
      .output_voltage = output_voltage,
      .vab_vd_voltage = vab_vd_voltage,
      .vbc_vq_voltage = vbc_vq_voltage,
  };
}
```
